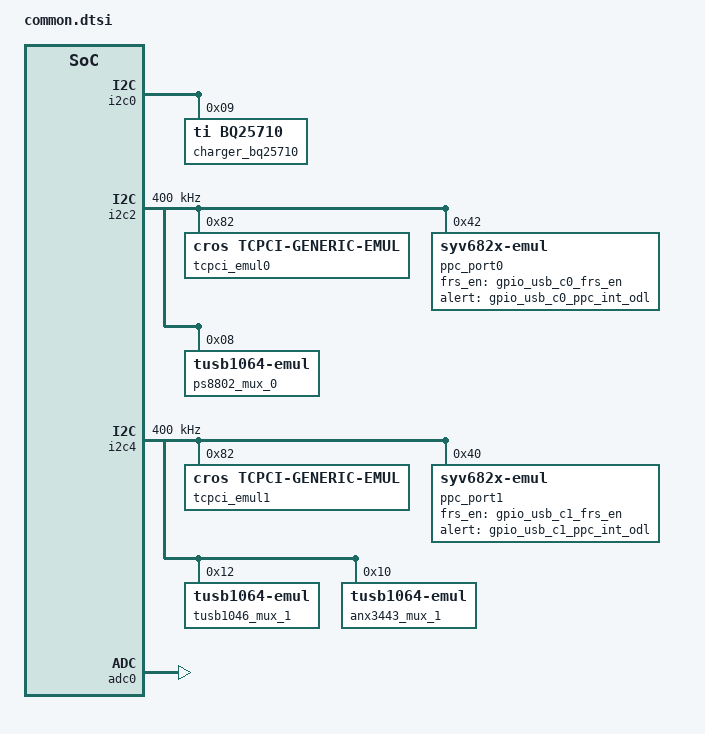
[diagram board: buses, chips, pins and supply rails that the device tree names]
/* Copyright 2025 The ChromiumOS Authors
 * Use of this source code is governed by a BSD-style license that can be
 * found in the LICENSE file.
 */

#include <it8xxx2_emul.dts>
#include "../program/rauru/power_signal.dtsi"

/ {

    pinctrl: pinctrl {
		compatible = "ite,it8xxx2-pinctrl";
		status = "disabled";
	};

	named-gpios {
		compatible = "named-gpios";

		/* unimplemented GPIOs */
		entering_rw: entering_rw {
			enum-name = "GPIO_ENTERING_RW";
		};

		/* a label to prevent build break in power sequencing */
		en_pp4200_s5: en_pp3700_s5 {
			gpios = <&gpioh 5 (GPIO_OUTPUT_LOW)>;
		};

		gpio_als_int_ec_odl: als_int_ec_odl {
			gpios = <&gpiob 6 (GPIO_INPUT)>;
		};
		gpio_ap_ec_sysrst_odl: ap_ec_sysrst_odl {
			gpios = <&gpioj 2 (GPIO_INPUT)>;
			enum-name = "GPIO_AP_EC_SYSRST_ODL";
		};
		gpio_ap_ec_warm_rst_req: ap_ec_warm_rst_req {
			gpios = <&gpiom 3 (GPIO_INPUT)>;
			enum-name = "GPIO_AP_EC_WARM_RST_REQ";
		};
		gpio_ap_ec_wdtrst_l: ap_ec_wdtrst_l {
			gpios = <&gpioj 3 (GPIO_INPUT)>;
			enum-name = "GPIO_AP_EC_WDTRST_L";
		};
		gpio_ap_in_sleep_l: ap_in_sleep_l {
			gpios = <&gpiom 2 (GPIO_INPUT)>;
			enum-name = "GPIO_AP_IN_SLEEP_L";
		};
		gpio_ap_xhci_init_done_r: ap_xhci_init_done_r {
			gpios = <&gpioj 4 (GPIO_INPUT)>;
		};
		gpio_ccd_mode_odl: ccd_mode_odl {
			gpios = <&gpioe 5 (GPIO_INPUT)>;
		};
		gpio_charger_prochot_odl: charger_prochot_odl {
			gpios = <&gpioc 0 (GPIO_INPUT)>;
		};
		gpio_dp_path_hdmi_en: dp_path_hdmi_en {
			gpios = <&gpioi 6 (GPIO_OUTPUT | GPIO_ACTIVE_HIGH | GPIO_OUTPUT_INIT_LOW)>;
		};
		gpio_dp_path_usb_c1_en: dp_path_usb_c1_en {
			gpios = <&gpiog 0 (GPIO_OUTPUT | GPIO_ACTIVE_HIGH | GPIO_OUTPUT_INIT_LOW)>;
		};
		gpio_ec_ap_dp_hpd_l: ec_ap_dp_hpd_l {
			gpios = <&gpiof 3 (GPIO_OUTPUT | GPIO_ACTIVE_HIGH | GPIO_OUTPUT_INIT_HIGH)>;
		};
		gpio_ec_ap_int_odl: ec_ap_int_odl {
			gpios = <&gpiom 6 (GPIO_OUTPUT | GPIO_OPEN_DRAIN | GPIO_ACTIVE_HIGH | GPIO_OUTPUT_INIT_HIGH)>;
			enum-name = "GPIO_EC_INT_L";
		};
		gpio_ec_ap_sys_rst_odl: ec_ap_sys_rst_odl {
			gpios = <&gpioj 5 (GPIO_OUTPUT | GPIO_OPEN_DRAIN | GPIO_ACTIVE_HIGH | GPIO_OUTPUT_INIT_HIGH)>;
			enum-name = "GPIO_SYS_RST_ODL";
		};
		gpio_ec_batt_pres_odl: ec_batt_pres_odl {
			gpios = <&gpioc 3 (GPIO_INPUT)>;
			enum-name = "GPIO_BATT_PRES_ODL";
		};
		gpio_ec_bl_en_od: ec_bl_en_od {
			gpios = <&gpiod 2 (GPIO_OUTPUT | GPIO_OPEN_DRAIN | GPIO_ACTIVE_HIGH | GPIO_OUTPUT_INIT_LOW)>;
		};
		gpio_ec_cbi_wp: ec_cbi_wp {
			gpios = <&gpioc 5 (GPIO_OUTPUT | GPIO_ACTIVE_HIGH | GPIO_OUTPUT_INIT_LOW)>;
		};
		gpio_ec_flash_wp_odl: ec_flash_wp_odl {
			gpios = <&gpioc 4 (GPIO_INPUT)>;
		};
		gpio_ec_gsc_packet_mode_en: ec_gsc_packet_mode_en {
			gpios = <&gpioe 6 (GPIO_OUTPUT | GPIO_ACTIVE_HIGH | GPIO_OUTPUT_INIT_LOW)>;
			enum-name = "GPIO_PACKET_MODE_EN";
		};
		gpio_ec_led1_odl: ec_led1_odl {
			gpios = <&gpioa 0 (GPIO_OUTPUT | GPIO_OPEN_DRAIN | GPIO_ACTIVE_HIGH | GPIO_OUTPUT_INIT_HIGH)>;
		};
		gpio_ec_led2_odl: ec_led2_odl {
			gpios = <&gpioa 1 (GPIO_OUTPUT | GPIO_OPEN_DRAIN | GPIO_ACTIVE_HIGH | GPIO_OUTPUT_INIT_HIGH)>;
		};
		gpio_ec_pmic_en_odl_r: ec_pmic_en_odl_r {
			gpios = <&gpioj 0 (GPIO_OUTPUT | GPIO_OPEN_DRAIN | GPIO_ACTIVE_HIGH | GPIO_OUTPUT_INIT_HIGH)>;
			enum-name = "GPIO_EC_PMIC_EN_ODL";
		};
		gpio_ec_voldn_btn_odl: ec_voldn_btn_odl {
			gpios = <&gpioe 3 (GPIO_INPUT)>;
			enum-name = "GPIO_VOLUME_DOWN_L";
		};
		gpio_ec_volup_btn_odl: ec_volup_btn_odl {
			gpios = <&gpioe 4 (GPIO_INPUT)>;
			enum-name = "GPIO_VOLUME_UP_L";
		};
		gpio_en_hdmi_pwr: en_hdmi_pwr {
			gpios = <&gpioi 5 (GPIO_OUTPUT | GPIO_ACTIVE_HIGH | GPIO_OUTPUT_INIT_LOW)>;
		};
		gpio_en_kb_bl: en_kb_bl {
			gpios = <&gpiog 2 (GPIO_OUTPUT | GPIO_ACTIVE_HIGH)>;
			enum-name = "GPIO_EN_KEYBOARD_BACKLIGHT";
		};
		gpio_en_pp5000_fan: en_pp5000_fan {
			gpios = <&gpioa 6 (GPIO_OUTPUT | GPIO_ACTIVE_HIGH | GPIO_OUTPUT_INIT_LOW)>;
		};
		gpio_en_pp5000_pen_l: en_pp5000_pen_l {
			gpios = <&gpiog 3 (GPIO_OUTPUT | GPIO_ACTIVE_HIGH | GPIO_OUTPUT_INIT_HIGH)>;
		};
		gpio_en_pp5000_usba_vbus: en_pp5000_usba_vbus {
			gpios = <&gpiog 1 (GPIO_OUTPUT | GPIO_ACTIVE_HIGH | GPIO_OUTPUT_INIT_LOW)>;
		};
		gpio_en_pp5000_z1: en_pp5000_z1 {
			gpios = <&gpioh 3 (GPIO_OUTPUT | GPIO_ACTIVE_HIGH | GPIO_OUTPUT_INIT_HIGH)>;
		};
		gpio_en_ulp: en_ulp {
			gpios = <&gpioh 0 (GPIO_OUTPUT | GPIO_ACTIVE_HIGH | GPIO_OUTPUT_INIT_LOW)>;
		};
		gpio_gsc_acok_od: gsc_acok_od {
			gpios = <&gpioe 1 (GPIO_INPUT)>;
			enum-name = "GPIO_AC_PRESENT";
		};
		gpio_gsc_ec_pwr_btn_odl: gsc_ec_pwr_btn_odl {
			gpios = <&gpioe 2 (GPIO_INPUT)>;
			enum-name = "GPIO_POWER_BUTTON_L";
		};
		gpio_hdmi_ec_hpd: hdmi_ec_hpd {
			gpios = <&gpioi 7 (GPIO_INPUT)>;
		};
		gpio_imu_int_ec_l: imu_int_ec_l {
			gpios = <&gpiod 0 (GPIO_INPUT)>;
		};
		gpio_lid_360_l: lid_360_l {
			gpios = <&gpioc 7 (GPIO_INPUT)>;
		};
		gpio_lid_accel_int_ec_l: lid_accel_int_ec_l {
			gpios = <&gpiod 1 (GPIO_INPUT)>;
		};
		gpio_lid_open_3v3: lid_open_3v3 {
			gpios = <&gpioc 6 (GPIO_INPUT)>;
			enum-name = "GPIO_LID_OPEN";
		};
		gpio_pg_pp3700_s5_od: pg_pp3700_s5_od {
			gpios = <&gpioh 6 (GPIO_INPUT)>;
			enum-name = "GPIO_PG_PP4200_S5_OD";
		};
		gpio_pg_pp5000_z1_od: pg_pp5000_z1_od {
			gpios = <&gpioh 4 (GPIO_INPUT)>;
		};
		gpio_pmic_ec_resetb: pmic_ec_resetb {
			gpios = <&gpioj 1 (GPIO_INPUT)>;
			enum-name = "GPIO_PMIC_EC_RESETB";
		};
		gpio_usb_c0_dp_in_hpd: usb_c0_dp_in_hpd {
			gpios = <&gpiof 2 (GPIO_OUTPUT | GPIO_ACTIVE_HIGH | GPIO_OUTPUT_INIT_LOW)>;
		};
		gpio_usb_c0_frs_en: usb_c0_frs_en {
			gpios = <&gpiof 0 (GPIO_OUTPUT | GPIO_ACTIVE_HIGH | GPIO_OUTPUT_INIT_LOW)>;
		};
		gpio_usb_c0_ppc_int_odl: usb_c0_ppc_int_odl {
			gpios = <&gpiof 1 (GPIO_INPUT | GPIO_ACTIVE_LOW)>;
		};
		gpio_usb_c1_frs_en: usb_c1_frs_en {
			gpios = <&gpiod 3 (GPIO_OUTPUT | GPIO_ACTIVE_HIGH | GPIO_OUTPUT_INIT_LOW)>;
		};
		gpio_usb_c1_ppc_int_odl: usb_c1_ppc_int_odl {
			gpios = <&gpiod 4 (GPIO_INPUT | GPIO_ACTIVE_LOW)>;
		};
	};

	gpio-interrupts {
		compatible = "cros-ec,gpio-interrupts";

		int_ac_present: ac-present {
			irq-pin = <&gpio_gsc_acok_od>;
			flags = <GPIO_INT_EDGE_BOTH>;
			handler = "extpower_interrupt";
		};
	};

    named-i2c-ports {
		compatible = "named-i2c-ports";

		i2c_ec_i2c_pwr_cbi_scl_3v3: ec_i2c_pwr_cbi_scl_3v3 {
			i2c-port = <&i2c0>;
			enum-names = "I2C_PORT_POWER", "I2C_PORT_EEPROM";
		};
		i2c_ec_smb_batt_scl_3v3: ec_smb_batt_scl_3v3 {
			i2c-port = <&i2c1>;
			enum-names = "I2C_PORT_BATTERY", "I2C_PORT_VIRTUAL_BATTERY";
		};
		i2c_ec_i2c_usb_c0_scl_3v3: ec_i2c_usb_c0_scl_3v3 {
			i2c-port = <&i2c2>;
			enum-names = "I2C_PORT_USB_C0";
		};
		i2c_ec_i2c_sensor_scl_1v8: ec_i2c_sensor_scl_1v8 {
			i2c-port = <&i2c3>;
			enum-names = "I2C_PORT_SENSOR";
		};
		i2c_ec_i2c_usb_c1_scl_3v3: ec_i2c_usb_c1_scl_3v3 {
			i2c-port = <&i2c4>;
			enum-names = "I2C_PORT_USB_C1";
		};
	};

	usbc {
		#address-cells = <1>;
		#size-cells = <0>;

		port0@0 {
			compatible = "named-usbc-port";
			reg = <0>;
			chg = <&charger_bq25710>;
			tcpc = <&tcpci_emul0>;
			ppc = <&ppc_port0>;
			usb-mux-chain-0 {
				compatible = "cros-ec,usb-mux-chain";
				usb-muxes = <&ps8802_mux_0 &virtual_mux_0>;
			};
		};

		port0-muxes {
			virtual_mux_0: virtual-mux-0 {
				compatible = "cros-ec,usbc-mux-virtual";
			};
		};

		port1@1 {
			compatible = "named-usbc-port";
			reg = <1>;
			tcpc = <&tcpci_emul1>;
			ppc = <&ppc_port1>;
			usb-mux-chain-1 {
				compatible = "cros-ec,usb-mux-chain";
				usb-muxes = <&anx3443_mux_1 &virtual_mux_1>;
			};
			usb_mux_chain_tusb1046_port1: usb-mux-chain-1-tusb {
				compatible = "cros-ec,usb-mux-chain";
				usb-muxes = <&tusb1046_mux_1 &virtual_mux_1>;
				alternative-chain;
			};
		};

		port1-muxes {
			virtual_mux_1: virtual-mux-1 {
				compatible = "cros-ec,usbc-mux-virtual";
			};
		};
	};

    named-adc-channels {
		compatible = "named-adc-channels";

		adc_ec_usb_c0_vbus_sense: ec_usb_c0_vbus_sense {
			enum-name = "ADC_VBUS_C0";
			io-channels = <&adc0 0>;
		};
		adc_ec_usb_c1_vbus_sense: ec_usb_c1_vbus_sense {
			enum-name = "ADC_VBUS_C1";
			io-channels = <&adc0 1>;
		};
		adc_charger_amon_q: charger_amon_q {
			enum-name = "ADC_AMON_BMON";
			io-channels = <&adc0 2>;
		};
		adc_charger_pmon_q: charger_pmon_q {
			enum-name = "ADC_PSYS";
			io-channels = <&adc0 3>;
		};
		adc_temp_sensor1: temp_sensor1 {
			enum-name = "ADC_TEMP_SENSOR_1";
			io-channels = <&adc0 4>;
		};
	};
};

&i2c0 {
	charger_bq25710: bq25710@9 {
		compatible = "ti,bq25710","zephyr,rt9490-emul";
		status = "okay";
		reg = <0x9>;
	};
};

&i2c2 {

	status = "okay";
	clock-frequency = <I2C_BITRATE_FAST>;

    tcpci_emul0: tcpci_emul@82 {
        compatible = "cros,tcpci-generic-emul";
        status = "okay";
        reg = <0x82>;
	};

	ppc_port0: syv682x@42 {
		compatible = "zephyr,syv682x-emul";
		status = "okay";
		reg = <0x42>;
		frs_en_gpio = <&gpio_usb_c0_frs_en>;
		alert_gpio = <&gpio_usb_c0_ppc_int_odl>;
	};

	ps8802_mux_0: ps8802-mx-0@8 {
		compatible = "zephyr,tusb1064-emul";
		status = "okay";
		reg = <0x8>;
	};
};

&i2c4 {

	status = "okay";
	clock-frequency = <I2C_BITRATE_FAST>;

	tcpci_emul1: tcpci_emul@82 {
        compatible = "cros,tcpci-generic-emul";
        status = "okay";
        reg = <0x82>;
	};

	ppc_port1: syv682x@40 {
		compatible = "zephyr,syv682x-emul";
		status = "okay";
		reg = <0x40>;
		frs_en_gpio = <&gpio_usb_c1_frs_en>;
		alert_gpio = <&gpio_usb_c1_ppc_int_odl>;
	};

	tusb1046_mux_1: tusb1046-mux-1@12 {
		compatible = "zephyr,tusb1064-emul";
		status = "okay";
		reg = <0x12>;
	};

	anx3443_mux_1: anx3443-mux-1@10 {
		compatible = "zephyr,tusb1064-emul";
		status = "okay";
		reg = <0x10>;
	};
};

&adc0 {
	status = "okay";
};

